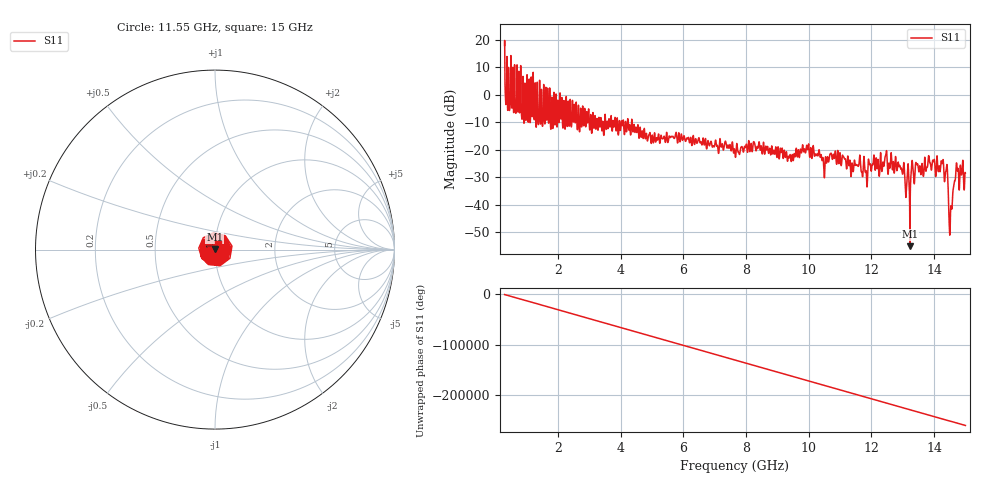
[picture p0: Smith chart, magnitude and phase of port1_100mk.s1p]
# GHZ S RI R 50.0
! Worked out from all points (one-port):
!   12801 points, 300 MHz to 15 GHz, reference 50 ohm
!   lowest |S11| = -55.1 dB at 13.23 GHz (marker M1), VSWR 1.00, Z = 49.8 + j0.0838 ohm
!   |S11| at or under -10 dB: 4.094 GHz to 4.151 GHz (57.63 MHz wide, 1.4 % of centre); 4.239 GHz to 4.35 GHz (110.8 MHz wide, 2.58 % of centre); 4.369 GHz to end of sweep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
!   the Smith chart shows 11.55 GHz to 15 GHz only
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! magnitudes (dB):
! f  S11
! 300 MHz  17.9
! 399.9 MHz  -5.6
! 754.8 MHz  8.6
! 912.1 MHz  -9.8
! 1.21 GHz  6.5
! 1.319 GHz  -10.3
! 2.138 GHz  -6.5
! 3.975 GHz  -11.1
! 5.034 GHz  -17.0
! 5.812 GHz  -17.4
! 7.65 GHz  -21.8
! 8.222 GHz  -18.7
! 9.488 GHz  -22.4
! 9.939 GHz  -18.4
! 10.5 GHz  -30.2
! 10.74 GHz  -22.2
! 11.32 GHz  -25.2
! 11.85 GHz  -32.3
! 12.44 GHz  -22.7
! 12.98 GHz  -28.3
! 13.16 GHz  -25.8
! 13.23 GHz  -55.1
! 13.47 GHz  -25.1
! 14.24 GHz  -24.2
! 14.37 GHz  -27.9
! 14.53 GHz  -42.3
! 14.71 GHz  -25.7
! 15 GHz  -28.5
